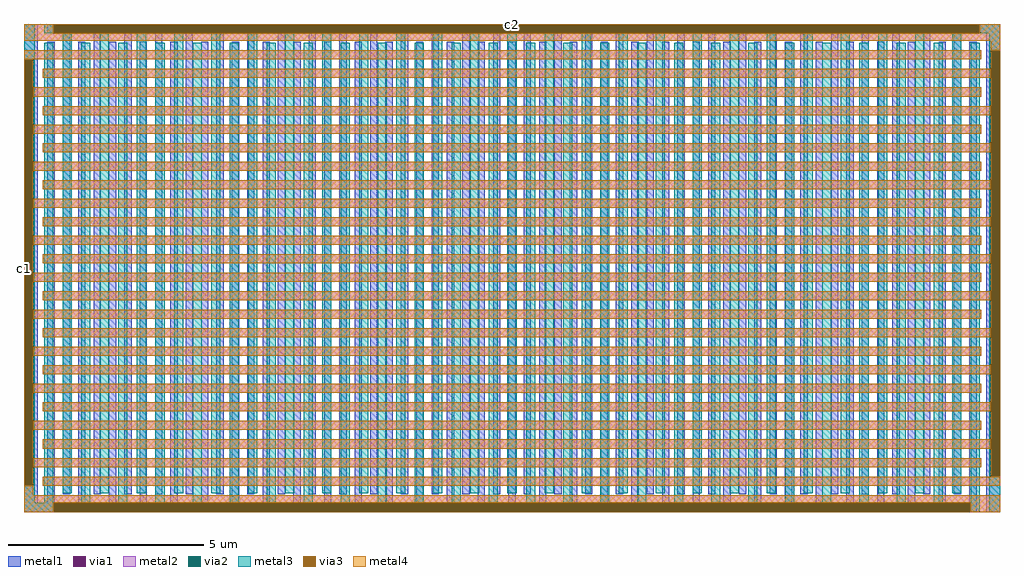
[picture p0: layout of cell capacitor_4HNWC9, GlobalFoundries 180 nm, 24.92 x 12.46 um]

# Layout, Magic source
magic
tech gf180mcuD
magscale 3 26
<< metal1 >>
rect 0 2003 60 2160
rect 104 2159 4320 2160
rect 104 2119 142 2159
rect 4218 2119 4320 2159
rect 104 2118 4320 2119
rect 0 117 1 2003
rect 41 117 60 2003
rect 0 42 60 117
rect 104 42 136 2082
rect 172 78 204 2118
rect 240 42 272 2082
rect 308 78 340 2118
rect 376 42 408 2082
rect 444 78 476 2118
rect 512 42 544 2082
rect 580 78 612 2118
rect 648 42 680 2082
rect 716 78 748 2118
rect 784 42 816 2082
rect 852 78 884 2118
rect 920 42 952 2082
rect 988 78 1020 2118
rect 1056 42 1088 2082
rect 1124 78 1156 2118
rect 1192 42 1224 2082
rect 1260 78 1292 2118
rect 1328 42 1360 2082
rect 1396 78 1428 2118
rect 1464 42 1496 2082
rect 1532 78 1564 2118
rect 1600 42 1632 2082
rect 1668 78 1700 2118
rect 1736 42 1768 2082
rect 1804 78 1836 2118
rect 1872 42 1904 2082
rect 1940 78 1972 2118
rect 2008 42 2040 2082
rect 2076 78 2108 2118
rect 2144 42 2176 2082
rect 2212 78 2244 2118
rect 2280 42 2312 2082
rect 2348 78 2380 2118
rect 2416 42 2448 2082
rect 2484 78 2516 2118
rect 2552 42 2584 2082
rect 2620 78 2652 2118
rect 2688 42 2720 2082
rect 2756 78 2788 2118
rect 2824 42 2856 2082
rect 2892 78 2924 2118
rect 2960 42 2992 2082
rect 3028 78 3060 2118
rect 3096 42 3128 2082
rect 3164 78 3196 2118
rect 3232 42 3264 2082
rect 3300 78 3332 2118
rect 3368 42 3400 2082
rect 3436 78 3468 2118
rect 3504 42 3536 2082
rect 3572 78 3604 2118
rect 3640 42 3672 2082
rect 3708 78 3740 2118
rect 3776 42 3808 2082
rect 3844 78 3876 2118
rect 3912 42 3944 2082
rect 3980 78 4012 2118
rect 4048 42 4080 2082
rect 4116 78 4148 2118
rect 4184 42 4216 2082
rect 0 41 4216 42
rect 0 1 142 41
rect 4178 1 4216 41
rect 0 0 4216 1
rect 4260 2043 4320 2118
rect 4260 157 4279 2043
rect 4319 157 4320 2043
rect 4260 0 4320 157
<< via1 >>
rect 142 2119 4218 2159
rect 1 117 41 2003
rect 142 1 4178 41
rect 4279 157 4319 2043
<< metal2 >>
rect 0 2120 130 2160
rect 4230 2120 4320 2160
rect 0 2119 142 2120
rect 4218 2119 4320 2120
rect 0 2085 4320 2119
rect 4279 2043 4320 2085
rect 0 2003 4236 2043
rect 84 1921 4279 1961
rect 41 1839 4236 1879
rect 84 1757 4279 1797
rect 41 1675 4236 1715
rect 84 1593 4279 1633
rect 41 1511 4236 1551
rect 84 1429 4279 1469
rect 41 1347 4236 1387
rect 84 1265 4279 1305
rect 41 1183 4236 1223
rect 84 1101 4279 1141
rect 41 1019 4236 1059
rect 84 937 4279 977
rect 41 855 4236 895
rect 84 773 4279 813
rect 41 691 4236 731
rect 84 609 4279 649
rect 41 527 4236 567
rect 84 445 4279 485
rect 41 363 4236 403
rect 84 281 4279 321
rect 41 199 4236 239
rect 84 117 4320 157
rect 0 75 41 117
rect 0 41 4320 75
rect 0 40 142 41
rect 4178 40 4320 41
rect 0 0 130 40
rect 4190 0 4320 40
<< via2 >>
rect 130 2159 4230 2160
rect 130 2120 142 2159
rect 142 2120 4218 2159
rect 4218 2120 4230 2159
rect 0 117 1 2003
rect 1 117 40 2003
rect 4280 157 4319 2043
rect 4319 157 4320 2043
rect 130 1 142 40
rect 142 1 4178 40
rect 4178 1 4190 40
rect 130 0 4190 1
<< metal3 >>
rect 0 2003 48 2160
rect 90 2120 130 2160
rect 4230 2120 4320 2160
rect 40 117 48 2003
rect 0 40 48 117
rect 90 40 130 2078
rect 172 82 212 2120
rect 254 40 294 2078
rect 336 82 376 2120
rect 418 40 458 2078
rect 500 82 540 2120
rect 582 40 622 2078
rect 664 82 704 2120
rect 746 40 786 2078
rect 828 82 868 2120
rect 910 40 950 2078
rect 992 82 1032 2120
rect 1074 40 1114 2078
rect 1156 82 1196 2120
rect 1238 40 1278 2078
rect 1320 82 1360 2120
rect 1402 40 1442 2078
rect 1484 82 1524 2120
rect 1566 40 1606 2078
rect 1648 82 1688 2120
rect 1730 40 1770 2078
rect 1812 82 1852 2120
rect 1894 40 1934 2078
rect 1976 82 2016 2120
rect 2058 40 2098 2078
rect 2140 82 2180 2120
rect 2222 40 2262 2078
rect 2304 82 2344 2120
rect 2386 40 2426 2078
rect 2468 82 2508 2120
rect 2550 40 2590 2078
rect 2632 82 2672 2120
rect 2714 40 2754 2078
rect 2796 82 2836 2120
rect 2878 40 2918 2078
rect 2960 82 3000 2120
rect 3042 40 3082 2078
rect 3124 82 3164 2120
rect 3206 40 3246 2078
rect 3288 82 3328 2120
rect 3370 40 3410 2078
rect 3452 82 3492 2120
rect 3534 40 3574 2078
rect 3616 82 3656 2120
rect 3698 40 3738 2078
rect 3780 82 3820 2120
rect 3862 40 3902 2078
rect 3944 82 3984 2120
rect 4026 40 4066 2078
rect 4108 82 4148 2120
rect 0 0 130 40
rect 4190 0 4230 2078
rect 4272 2043 4320 2120
rect 4272 157 4280 2043
rect 4272 0 4320 157
<< via3 >>
rect 130 2120 4230 2160
rect 0 117 40 2003
rect 130 0 4190 40
rect 4280 157 4320 2043
<< metal4 >>
rect 0 2120 130 2160
rect 4230 2120 4320 2160
rect 0 2085 4320 2120
rect 4280 2043 4320 2085
rect 0 2003 4238 2043
rect 82 1921 4280 1961
rect 40 1839 4238 1879
rect 82 1757 4280 1797
rect 40 1675 4238 1715
rect 82 1593 4280 1633
rect 40 1511 4238 1551
rect 82 1429 4280 1469
rect 40 1347 4238 1387
rect 82 1265 4280 1305
rect 40 1183 4238 1223
rect 82 1101 4280 1141
rect 40 1019 4238 1059
rect 82 937 4280 977
rect 40 855 4238 895
rect 82 773 4280 813
rect 40 691 4238 731
rect 82 609 4280 649
rect 40 527 4238 567
rect 82 445 4280 485
rect 40 363 4238 403
rect 82 281 4280 321
rect 40 199 4238 239
rect 82 117 4320 157
rect 0 75 40 117
rect 0 40 4320 75
rect 0 0 130 40
rect 4190 0 4320 40
<< labels >>
rlabel via3 2 1080 2 1080 0 c1
port 1 nsew
rlabel via3 2160 2158 2160 2158 0 c2
port 2 nsew
<< properties >>
string device csubckt cap_cmomf 0 0 1 1 w=21.6u l=10.8u mmin=1 mmax=4 subblock=0 mm_ok=1 c1 0 0 c2 0 0
string FIXED_BBOX 0 0 4320 2160
string gencell cap_cmomf
string library gf180mcu
string parameters w 21.6 l 10.8 value 300.231 class capacitor mmin metal1 mmax metal4 square 1 subblock 0 lmin 2.00 wmin 2.00 lmax 100.0 wmax 100.0
<< end >>
